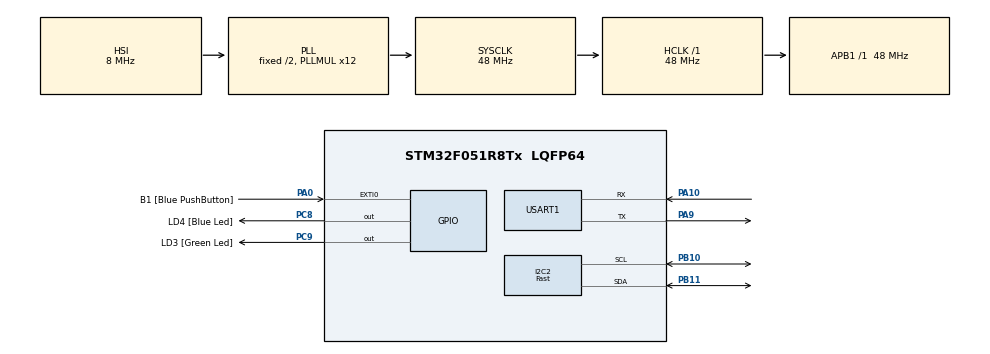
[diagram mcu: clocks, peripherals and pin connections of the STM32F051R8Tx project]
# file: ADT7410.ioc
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I2C2.I2C_Speed_Mode=I2C_Fast
I2C2.Timing=0x2010091A
Mcu.Family=STM32F0
Mcu.Name=STM32F051R8Tx
Mcu.Package=LQFP64
PA0.GPIO_Label=B1 [Blue PushButton]
PA0.GPIO_ModeDefaultEXTI=GPIO_MODE_EVT_RISING
PA0.Signal=GPXTI0
PA10.Mode=Asynchronous
PA10.Signal=USART1_RX
PA13.GPIO_Label=SWDIO
PA13.Mode=Serial_Wire
PA13.Signal=SYS_SWDIO
PA14.GPIO_Label=SWCLK
PA14.Mode=Serial_Wire
PA14.Signal=SYS_SWCLK
PA9.Mode=Asynchronous
PA9.Signal=USART1_TX
PB10.Mode=I2C
PB10.Signal=I2C2_SCL
PB11.Mode=I2C
PB11.Signal=I2C2_SDA
PC8.GPIO_Label=LD4 [Blue Led]
PC8.Signal=GPIO_Output
PC9.GPIO_Label=LD3 [Green Led]
PC9.Signal=GPIO_Output
ProjectManager.HeapSize=0x200
ProjectManager.StackSize=0x400
ProjectManager.TargetToolchain=STM32CubeIDE
RCC.AHBFreq_Value=48000000
RCC.APB1Freq_Value=48000000
RCC.APB1TimFreq_Value=48000000
RCC.HCLKFreq_Value=48000000
RCC.PLLMUL=RCC_PLL_MUL12
RCC.SYSCLKFreq_VALUE=48000000
RCC.SYSCLKSource=RCC_SYSCLKSOURCE_PLLCLK
USART1.VirtualMode-Asynchronous=VM_ASYNC
board=STM32F0DISCOVERY

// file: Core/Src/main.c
/* USER CODE BEGIN Header */
/**
  ******************************************************************************
  * @file           : main.c
  * @brief          : Main program body
  ******************************************************************************
  * @attention
  *
  * Copyright (c) 2023 STMicroelectronics.
  * All rights reserved.
  *
  * This software is licensed under terms that can be found in the LICENSE file
  * in the root directory of this software component.
  * If no LICENSE file comes with this software, it is provided AS-IS.
  *
  ******************************************************************************
  */
/* USER CODE END Header */
#include "main.h"

/* USER CODE BEGIN Includes */
#include <string.h>
#include <stdio.h>
/* USER CODE END Includes */

I2C_HandleTypeDef hi2c2;

UART_HandleTypeDef huart1;

void SystemClock_Config(void);
static void MX_GPIO_Init(void);
static void MX_USART1_UART_Init(void);
static void MX_I2C2_Init(void);
/* USER CODE BEGIN PFP */
//prototype declaration of helper function
void receiver(uint8_t, uint8_t*);
//FOUR ADDRESSES FOR ACCESS:
static const uint8_t ADT7410_ADDR_ONE = (0x48<<1);//FIRST
static const uint8_t ADT7410_ADDR_TWO = (0x49<<1);//SECOND
static const uint8_t ADT7410_ADDR_THREE = (0x4A<<1);//THIRD
static const uint8_t ADT7410_ADDR_FOUR = (0x4B<<1);//FOURTH

static const uint16_t REG_TMP = 0x00; //sets the register to be read to MSB

/* USER CODE END PFP */

int main(void)
{

  /* MCU Configuration--------------------------------------------------------*/

  /* Reset of all peripherals, Initializes the Flash interface and the Systick. */
  HAL_Init();

  /* USER CODE BEGIN Init */
  uint8_t buffer[2]; //two byte buffer to read from ADT7410
  /* USER CODE END Init */

  /* Configure the system clock */
  SystemClock_Config();

  /* Initialize all configured peripherals */
  MX_GPIO_Init();
  MX_USART1_UART_Init();
  MX_I2C2_Init();

  /* Infinite loop */
  /* USER CODE BEGIN WHILE */
  while (1)
  {
	    receiver(ADT7410_ADDR_ONE, buffer);
	    receiver(ADT7410_ADDR_TWO, buffer);
	    receiver(ADT7410_ADDR_THREE, buffer);
	  	receiver(ADT7410_ADDR_FOUR, buffer);
	    HAL_Delay(1000);
  }
    /* USER CODE END WHILE */

}
/* USER CODE BEGIN 3 */
void receiver(uint8_t address, uint8_t *buffer) {
	HAL_StatusTypeDef ret; //for error handling
    int16_t final_data; //store raw temp data, initially set to 0
    float val;
	unsigned int large;//left of decimal
	unsigned int small; //right of decimal
	char uart[20];
	buffer[0] = REG_TMP;
	//ERROR MESSAGES CATERED TO SPECIFIC SENSOR
	char tx[20];
	char rx[20];
	sprintf(tx, "ADDR %X: ERROR TX\r\n", address);
	sprintf(rx, "ADDR %X: ERROR RX\r\n", address);

	//TRANSMIT SINGLE BYTE OF DATA 0x00 to communicate readiness to RECEIVE
	ret =  HAL_I2C_Master_Transmit(&hi2c2, address, buffer, 1, HAL_MAX_DELAY);
	if (ret != HAL_OK) {
		strcpy(uart, tx);
	} else {
		  //RECEIVE TWO BYTES OF DATA
		ret = HAL_I2C_Master_Receive(&hi2c2, address, buffer, 2, HAL_MAX_DELAY);
		if (ret != HAL_OK) {
		//IF ERROR PRODUCED DURING RECEIVAL
			strcpy(uart, rx);
		} else{
		//CONVERT DATA TO CELSIUS (WORKS)
			final_data = (((uint16_t)buffer[0]<<8)|(buffer[1])) >> 3;
			if (final_data > 0x7FF) {
				final_data |= 0xF000;
			}
			val = final_data*0.0625;
			val = val*100;
			//FORMAT INTO DIGESTABLE STRING
			large = (unsigned int)val/100;
			small = (unsigned int)val%100;
			//DIFFERENTIATE BY HE OF ADDRESSING
			sprintf(uart, "ADDR %X: %u.%02u C\r\n", address, large, small);
		}
	}
	HAL_UART_Transmit(&huart1, (uint8_t*)uart, strlen(uart), HAL_MAX_DELAY);
}
/* USER CODE END 3 */

void SystemClock_Config(void)
{
  RCC_OscInitTypeDef RCC_OscInitStruct = {0};
  RCC_ClkInitTypeDef RCC_ClkInitStruct = {0};
  RCC_PeriphCLKInitTypeDef PeriphClkInit = {0};

  /** Initializes the RCC Oscillators according to the specified parameters
  * in the RCC_OscInitTypeDef structure.
  */
  RCC_OscInitStruct.OscillatorType = RCC_OSCILLATORTYPE_HSI;
  RCC_OscInitStruct.HSIState = RCC_HSI_ON;
  RCC_OscInitStruct.HSICalibrationValue = RCC_HSICALIBRATION_DEFAULT;
  RCC_OscInitStruct.PLL.PLLState = RCC_PLL_ON;
  RCC_OscInitStruct.PLL.PLLSource = RCC_PLLSOURCE_HSI;
  RCC_OscInitStruct.PLL.PLLMUL = RCC_PLL_MUL12;
  RCC_OscInitStruct.PLL.PREDIV = RCC_PREDIV_DIV1;
  if (HAL_RCC_OscConfig(&RCC_OscInitStruct) != HAL_OK)
  {
    Error_Handler();
  }

  /** Initializes the CPU, AHB and APB buses clocks
  */
  RCC_ClkInitStruct.ClockType = RCC_CLOCKTYPE_HCLK|RCC_CLOCKTYPE_SYSCLK
                              |RCC_CLOCKTYPE_PCLK1;
  RCC_ClkInitStruct.SYSCLKSource = RCC_SYSCLKSOURCE_PLLCLK;
  RCC_ClkInitStruct.AHBCLKDivider = RCC_SYSCLK_DIV1;
  RCC_ClkInitStruct.APB1CLKDivider = RCC_HCLK_DIV1;

  if (HAL_RCC_ClockConfig(&RCC_ClkInitStruct, FLASH_LATENCY_1) != HAL_OK)
  {
    Error_Handler();
  }
  PeriphClkInit.PeriphClockSelection = RCC_PERIPHCLK_USART1;
  PeriphClkInit.Usart1ClockSelection = RCC_USART1CLKSOURCE_PCLK1;
  if (HAL_RCCEx_PeriphCLKConfig(&PeriphClkInit) != HAL_OK)
  {
    Error_Handler();
  }
}

static void MX_I2C2_Init(void)
{

  hi2c2.Instance = I2C2;
  hi2c2.Init.Timing = 0x2010091A;
  hi2c2.Init.OwnAddress1 = 0;
  hi2c2.Init.AddressingMode = I2C_ADDRESSINGMODE_7BIT;
  hi2c2.Init.DualAddressMode = I2C_DUALADDRESS_DISABLE;
  hi2c2.Init.OwnAddress2 = 0;
  hi2c2.Init.OwnAddress2Masks = I2C_OA2_NOMASK;
  hi2c2.Init.GeneralCallMode = I2C_GENERALCALL_DISABLE;
  hi2c2.Init.NoStretchMode = I2C_NOSTRETCH_DISABLE;
  if (HAL_I2C_Init(&hi2c2) != HAL_OK)
  {
    Error_Handler();
  }

  /** Configure Analogue filter
  */
  if (HAL_I2CEx_ConfigAnalogFilter(&hi2c2, I2C_ANALOGFILTER_ENABLE) != HAL_OK)
  {
    Error_Handler();
  }

  /** Configure Digital filter
  */
  if (HAL_I2CEx_ConfigDigitalFilter(&hi2c2, 0) != HAL_OK)
  {
    Error_Handler();
  }

}

static void MX_USART1_UART_Init(void)
{

  huart1.Instance = USART1;
  huart1.Init.BaudRate = 38400;
  huart1.Init.WordLength = UART_WORDLENGTH_8B;
  huart1.Init.StopBits = UART_STOPBITS_1;
  huart1.Init.Parity = UART_PARITY_NONE;
  huart1.Init.Mode = UART_MODE_TX_RX;
  huart1.Init.HwFlowCtl = UART_HWCONTROL_NONE;
  huart1.Init.OverSampling = UART_OVERSAMPLING_16;
  huart1.Init.OneBitSampling = UART_ONE_BIT_SAMPLE_DISABLE;
  huart1.AdvancedInit.AdvFeatureInit = UART_ADVFEATURE_NO_INIT;
  if (HAL_UART_Init(&huart1) != HAL_OK)
  {
    Error_Handler();
  }

}

static void MX_GPIO_Init(void)
{
  GPIO_InitTypeDef GPIO_InitStruct = {0};

  /* GPIO Ports Clock Enable */
  __HAL_RCC_GPIOA_CLK_ENABLE();
  __HAL_RCC_GPIOB_CLK_ENABLE();
  __HAL_RCC_GPIOC_CLK_ENABLE();

  /*Configure GPIO pin Output Level */
  HAL_GPIO_WritePin(GPIOC, LD4_Pin|LD3_Pin, GPIO_PIN_RESET);

  /*Configure GPIO pin : B1_Pin */
  GPIO_InitStruct.Pin = B1_Pin;
  GPIO_InitStruct.Mode = GPIO_MODE_EVT_RISING;
  GPIO_InitStruct.Pull = GPIO_NOPULL;
  HAL_GPIO_Init(B1_GPIO_Port, &GPIO_InitStruct);

  /*Configure GPIO pins : LD4_Pin LD3_Pin */
  GPIO_InitStruct.Pin = LD4_Pin|LD3_Pin;
  GPIO_InitStruct.Mode = GPIO_MODE_OUTPUT_PP;
  GPIO_InitStruct.Pull = GPIO_NOPULL;
  GPIO_InitStruct.Speed = GPIO_SPEED_FREQ_LOW;
  HAL_GPIO_Init(GPIOC, &GPIO_InitStruct);

}

void Error_Handler(void)
{
  __disable_irq();
  while (1)
  {
  }
}
